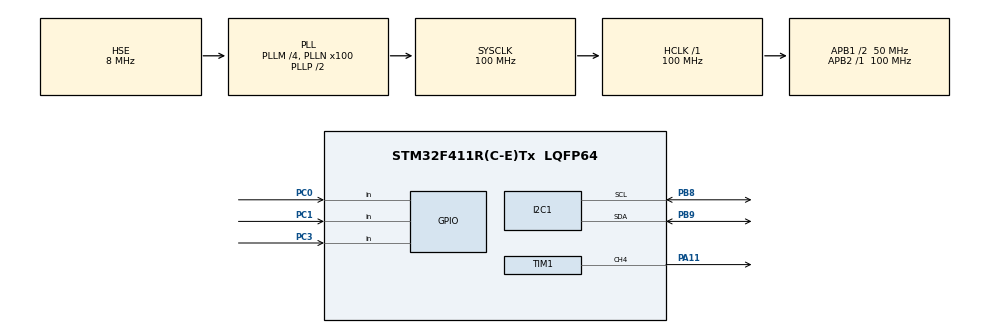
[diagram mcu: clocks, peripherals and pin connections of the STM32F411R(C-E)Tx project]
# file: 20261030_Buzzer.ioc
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Mcu.Family=STM32F4
Mcu.Name=STM32F411R(C-E)Tx
Mcu.Package=LQFP64
NVIC.PriorityGroup=NVIC_PRIORITYGROUP_4
PA11.Signal=S_TIM1_CH4
PA13.Mode=Serial_Wire
PA13.Signal=SYS_JTMS-SWDIO
PA14.Mode=Serial_Wire
PA14.Signal=SYS_JTCK-SWCLK
PB8.Mode=I2C
PB8.Signal=I2C1_SCL
PB9.Mode=I2C
PB9.Signal=I2C1_SDA
PC0.Signal=GPIO_Input
PC1.Signal=GPIO_Input
PC3.Signal=GPIO_Input
PH0\ -\ OSC_IN.Mode=HSE-External-Oscillator
PH0\ -\ OSC_IN.Signal=RCC_OSC_IN
PH1\ -\ OSC_OUT.Mode=HSE-External-Oscillator
PH1\ -\ OSC_OUT.Signal=RCC_OSC_OUT
ProjectManager.HeapSize=0x200
ProjectManager.StackSize=0x400
ProjectManager.TargetToolchain=STM32CubeIDE
RCC.48MHZClocksFreq_Value=50000000
RCC.AHBFreq_Value=100000000
RCC.APB1CLKDivider=RCC_HCLK_DIV2
RCC.APB1Freq_Value=50000000
RCC.APB1TimFreq_Value=100000000
RCC.APB2Freq_Value=100000000
RCC.APB2TimFreq_Value=100000000
RCC.CortexFreq_Value=100000000
RCC.HCLKFreq_Value=100000000
RCC.HSE_VALUE=8000000
RCC.HSI_VALUE=16000000
RCC.LSE_VALUE=32768
RCC.PLLM=4
RCC.PLLN=100
RCC.PLLSourceVirtual=RCC_PLLSOURCE_HSE
RCC.SYSCLKFreq_VALUE=100000000
RCC.SYSCLKSource=RCC_SYSCLKSOURCE_PLLCLK
RCC.VCOOutputFreq_Value=200000000
SH.S_TIM1_CH4.0=TIM1_CH4,PWM Generation4 CH4
TIM1.AutoReloadPreload=TIM_AUTORELOAD_PRELOAD_ENABLE
TIM1.Channel-PWM\ Generation4\ CH4=TIM_CHANNEL_4
TIM1.Prescaler=100-1
VP_TIM1_VS_ClockSourceINT.Mode=Internal
board=custom

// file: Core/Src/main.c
/* USER CODE BEGIN Header */
/**
 ******************************************************************************
 * @file           : main.c
 * @brief          : Main program body
 ******************************************************************************
 * @attention
 *
 * Copyright (c) 2026 STMicroelectronics.
 * All rights reserved.
 *
 * This software is licensed under terms that can be found in the LICENSE file
 * in the root directory of this software component.
 * If no LICENSE file comes with this software, it is provided AS-IS.
 *
 ******************************************************************************
 */
/* USER CODE END Header */
#include "main.h"

/* USER CODE BEGIN Includes */
#include "stm32f4xx_hal.h"
#include "ap/ap_main.h"
#include <stdbool.h>
#include <string.h>
#include "driver/button/button.h"
#include "ap/service/sound/sound.h"
#include "common/queue/que_buffer.h"
/* USER CODE END Includes */

I2C_HandleTypeDef hi2c1;

TIM_HandleTypeDef htim1;

void SystemClock_Config(void);
static void MX_GPIO_Init(void);
static void MX_TIM1_Init(void);
static void MX_I2C1_Init(void);

/* USER CODE BEGIN 0 */

typedef enum {
	BTN_NOMAL = 0,
	BTN_ERROR,
	BTN_ALARM
} btn_event_t;

#define BTN_EVENT_Q_SIZE	6
btn_event_t btnEvent[BTN_EVENT_Q_SIZE];
que_buf_t que_btnEvent;

/* USER CODE END 0 */

int main(void)
{

	/* MCU Configuration--------------------------------------------------------*/

	/* Reset of all peripherals, Initializes the Flash interface and the Systick. */
	HAL_Init();

	/* Configure the system clock */
	SystemClock_Config();

	/* Initialize all configured peripherals */
	MX_GPIO_Init();
	MX_TIM1_Init();
	MX_I2C1_Init();
	/* USER CODE BEGIN 2 */
	button_t btn_normal, btn_error, btn_alarm;

	button_init(&btn_normal, GPIOC, GPIO_PIN_0);
	button_init(&btn_error, GPIOC, GPIO_PIN_1);
	button_init(&btn_alarm, GPIOC, GPIO_PIN_3);

	que_buf_init(&que_btnEvent, btnEvent, sizeof(btn_event_t), BTN_EVENT_Q_SIZE);
	sound_init();
	sound_power();
	/* USER CODE END 2 */

	/* Infinite loop */
	/* USER CODE BEGIN WHILE */
	uint32_t prevTime = 0;
	btn_event_t btnEvent;

	while (1)
	{
		//		ap_main();
		if (button_getState(&btn_normal) == ACT_RELEASE)
		{
			btnEvent = BTN_NOMAL;
			que_put(&que_btnEvent, &btnEvent);
		}
		if (button_getState(&btn_error) == ACT_RELEASE)
		{
			btnEvent = BTN_ERROR;
			que_put(&que_btnEvent, &btnEvent);
		}
		if (button_getState(&btn_alarm) == ACT_RELEASE)
		{
			btnEvent = BTN_ALARM;
			que_put(&que_btnEvent, &btnEvent);
		}

		if (HAL_GetTick() - prevTime >= 2000) {

			prevTime = HAL_GetTick();

			if (!que_is_empty(&que_btnEvent)) {

				que_get(&que_btnEvent, &btnEvent);

				if (btnEvent == BTN_NOMAL) {
					sound_date();
				}
				if (btnEvent == BTN_ERROR) {
					sound_hcsr04();
				}
				if (btnEvent == BTN_ALARM) {
					sound_dht11();
				}
			}
		}

		/* USER CODE END WHILE */

	}
}

void SystemClock_Config(void)
{
	RCC_OscInitTypeDef RCC_OscInitStruct = {0};
	RCC_ClkInitTypeDef RCC_ClkInitStruct = {0};

	/** Configure the main internal regulator output voltage
	 */
	__HAL_RCC_PWR_CLK_ENABLE();
	__HAL_PWR_VOLTAGESCALING_CONFIG(PWR_REGULATOR_VOLTAGE_SCALE1);

	/** Initializes the RCC Oscillators according to the specified parameters
	 * in the RCC_OscInitTypeDef structure.
	 */
	RCC_OscInitStruct.OscillatorType = RCC_OSCILLATORTYPE_HSE;
	RCC_OscInitStruct.HSEState = RCC_HSE_ON;
	RCC_OscInitStruct.PLL.PLLState = RCC_PLL_ON;
	RCC_OscInitStruct.PLL.PLLSource = RCC_PLLSOURCE_HSE;
	RCC_OscInitStruct.PLL.PLLM = 4;
	RCC_OscInitStruct.PLL.PLLN = 100;
	RCC_OscInitStruct.PLL.PLLP = RCC_PLLP_DIV2;
	RCC_OscInitStruct.PLL.PLLQ = 4;
	if (HAL_RCC_OscConfig(&RCC_OscInitStruct) != HAL_OK)
	{
		Error_Handler();
	}

	/** Initializes the CPU, AHB and APB buses clocks
	 */
	RCC_ClkInitStruct.ClockType = RCC_CLOCKTYPE_HCLK|RCC_CLOCKTYPE_SYSCLK
			|RCC_CLOCKTYPE_PCLK1|RCC_CLOCKTYPE_PCLK2;
	RCC_ClkInitStruct.SYSCLKSource = RCC_SYSCLKSOURCE_PLLCLK;
	RCC_ClkInitStruct.AHBCLKDivider = RCC_SYSCLK_DIV1;
	RCC_ClkInitStruct.APB1CLKDivider = RCC_HCLK_DIV2;
	RCC_ClkInitStruct.APB2CLKDivider = RCC_HCLK_DIV1;

	if (HAL_RCC_ClockConfig(&RCC_ClkInitStruct, FLASH_LATENCY_3) != HAL_OK)
	{
		Error_Handler();
	}
}

static void MX_I2C1_Init(void)
{

	hi2c1.Instance = I2C1;
	hi2c1.Init.ClockSpeed = 100000;
	hi2c1.Init.DutyCycle = I2C_DUTYCYCLE_2;
	hi2c1.Init.OwnAddress1 = 0;
	hi2c1.Init.AddressingMode = I2C_ADDRESSINGMODE_7BIT;
	hi2c1.Init.DualAddressMode = I2C_DUALADDRESS_DISABLE;
	hi2c1.Init.OwnAddress2 = 0;
	hi2c1.Init.GeneralCallMode = I2C_GENERALCALL_DISABLE;
	hi2c1.Init.NoStretchMode = I2C_NOSTRETCH_DISABLE;
	if (HAL_I2C_Init(&hi2c1) != HAL_OK)
	{
		Error_Handler();
	}

}

static void MX_TIM1_Init(void)
{

	TIM_ClockConfigTypeDef sClockSourceConfig = {0};
	TIM_MasterConfigTypeDef sMasterConfig = {0};
	TIM_OC_InitTypeDef sConfigOC = {0};
	TIM_BreakDeadTimeConfigTypeDef sBreakDeadTimeConfig = {0};

	htim1.Instance = TIM1;
	htim1.Init.Prescaler = 100-1;
	htim1.Init.CounterMode = TIM_COUNTERMODE_UP;
	htim1.Init.Period = 65535;
	htim1.Init.ClockDivision = TIM_CLOCKDIVISION_DIV1;
	htim1.Init.RepetitionCounter = 0;
	htim1.Init.AutoReloadPreload = TIM_AUTORELOAD_PRELOAD_ENABLE;
	if (HAL_TIM_Base_Init(&htim1) != HAL_OK)
	{
		Error_Handler();
	}
	sClockSourceConfig.ClockSource = TIM_CLOCKSOURCE_INTERNAL;
	if (HAL_TIM_ConfigClockSource(&htim1, &sClockSourceConfig) != HAL_OK)
	{
		Error_Handler();
	}
	if (HAL_TIM_PWM_Init(&htim1) != HAL_OK)
	{
		Error_Handler();
	}
	sMasterConfig.MasterOutputTrigger = TIM_TRGO_RESET;
	sMasterConfig.MasterSlaveMode = TIM_MASTERSLAVEMODE_DISABLE;
	if (HAL_TIMEx_MasterConfigSynchronization(&htim1, &sMasterConfig) != HAL_OK)
	{
		Error_Handler();
	}
	sConfigOC.OCMode = TIM_OCMODE_PWM1;
	sConfigOC.Pulse = 0;
	sConfigOC.OCPolarity = TIM_OCPOLARITY_HIGH;
	sConfigOC.OCFastMode = TIM_OCFAST_DISABLE;
	sConfigOC.OCIdleState = TIM_OCIDLESTATE_RESET;
	sConfigOC.OCNIdleState = TIM_OCNIDLESTATE_RESET;
	if (HAL_TIM_PWM_ConfigChannel(&htim1, &sConfigOC, TIM_CHANNEL_4) != HAL_OK)
	{
		Error_Handler();
	}
	sBreakDeadTimeConfig.OffStateRunMode = TIM_OSSR_DISABLE;
	sBreakDeadTimeConfig.OffStateIDLEMode = TIM_OSSI_DISABLE;
	sBreakDeadTimeConfig.LockLevel = TIM_LOCKLEVEL_OFF;
	sBreakDeadTimeConfig.DeadTime = 0;
	sBreakDeadTimeConfig.BreakState = TIM_BREAK_DISABLE;
	sBreakDeadTimeConfig.BreakPolarity = TIM_BREAKPOLARITY_HIGH;
	sBreakDeadTimeConfig.AutomaticOutput = TIM_AUTOMATICOUTPUT_DISABLE;
	if (HAL_TIMEx_ConfigBreakDeadTime(&htim1, &sBreakDeadTimeConfig) != HAL_OK)
	{
		Error_Handler();
	}
	HAL_TIM_MspPostInit(&htim1);

}

static void MX_GPIO_Init(void)
{
	GPIO_InitTypeDef GPIO_InitStruct = {0};

	/* GPIO Ports Clock Enable */
	__HAL_RCC_GPIOH_CLK_ENABLE();
	__HAL_RCC_GPIOC_CLK_ENABLE();
	__HAL_RCC_GPIOA_CLK_ENABLE();
	__HAL_RCC_GPIOB_CLK_ENABLE();

	/*Configure GPIO pins : PC0 PC1 PC3 */
	GPIO_InitStruct.Pin = GPIO_PIN_0|GPIO_PIN_1|GPIO_PIN_3;
	GPIO_InitStruct.Mode = GPIO_MODE_INPUT;
	GPIO_InitStruct.Pull = GPIO_NOPULL;
	HAL_GPIO_Init(GPIOC, &GPIO_InitStruct);

}

void Error_Handler(void)
{
	__disable_irq();
	while (1)
	{
	}
}
